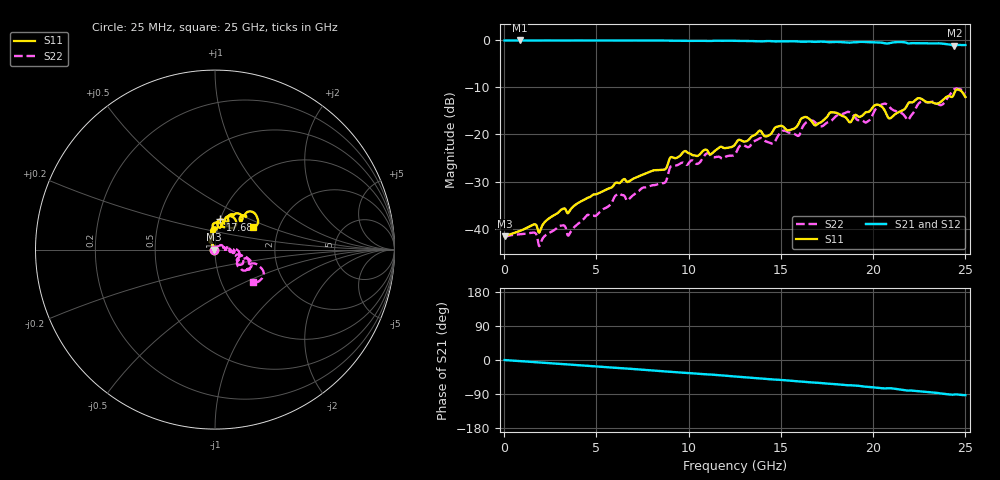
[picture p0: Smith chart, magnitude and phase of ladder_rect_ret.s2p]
! RG_ts6_sw_pwr: kisi's ladder with the plane pairs as finite cavities (rect) (Finite board 24 × 16 mm, ThunderScope stack, via F → In3 (stub to B) through In1 GND / In2 PWR / In4 GND, four GND vias at 1 mm joined to In1 and In4 (openings in In2))
# Hz S RI R 50
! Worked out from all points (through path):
!   1000 points, 25 MHz to 25 GHz, reference 50 ohm
!   highest |S21| = -0.08 dB at 850 MHz (marker M1); lowest = -1.2 dB at 24.4 GHz (marker M2)
!   group delay of S21, straight-line fit = 10.3 ps
!   lowest |S11| = -41.6 dB at 25 MHz (marker M3), VSWR 1.02, Z = 49.2 + j0.00409 ohm
!   |S11| at or under -10 dB: start of sweep to end of sweep
!   |S22| runs from -43.7 to -10.2 dB; largest |S21 - S12| = 0
!   S11 on the Smith chart (normalised r, x): 25 MHz: 0.98, +0.00; 17.68 GHz: 1.00, +0.35; 25 GHz: 1.48, +0.40
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2.5e7  -0.00832 4.16e-05  0.9907 -0.00142  0.9907 -0.00142  -0.00818 3.76e-05
8.5e8  -0.00892 0.00313  0.9899 -0.0499  0.9899 -0.0499  -0.0082 0.00297
1.95e9  -0.00769 0.00558  0.9828 -0.1126  0.9828 -0.1126  -0.00471 0.00484
4.2e9  -0.0118 0.0157  0.9602 -0.244  0.9602 -0.244  0.00143 0.012
6.15e9  -0.0147 0.027  0.9226 -0.3549  0.9226 -0.3549  0.0159 0.017
6.725e9  -0.0138 0.0282  0.911 -0.383  0.911 -0.383  0.016 0.0122
8.35e9  -0.0174 0.038  0.8676 -0.4752  0.8676 -0.4752  0.0262 0.0143
9.125e9  -0.0244 0.0518  0.8412 -0.5152  0.8412 -0.5152  0.0412 0.0217
1.2525e10  -0.0232 0.0753  0.7089 -0.6786  0.7089 -0.6786  0.0609 0.00939
1.5125e10  0.00725 0.1207  0.5808 -0.7758  0.5808 -0.7758  0.109 -0.00944
1.5925e10  -0.0124 0.1257  0.5311 -0.807  0.5311 -0.807  0.0958 -0.0104
1.6675e10  0.0356 0.1323  0.4904 -0.8253  0.4904 -0.8253  0.136 -0.0336
1.7675e10  0.0299 0.168  0.4327 -0.8457  0.4327 -0.8457  0.1346 -0.0298
1.8625e10  0.0611 0.128  0.3728 -0.864  0.3728 -0.864  0.1571 -0.0731
1.965e10  0.0556 0.1632  0.3161 -0.8961  0.3161 -0.8961  0.1259 -0.0485
2.025e10  0.1012 0.1803  0.2719 -0.9046  0.2719 -0.9046  0.1871 -0.0608
2.085e10  0.0868 0.1205  0.2476 -0.8908  0.2476 -0.8908  0.1603 -0.1172
2.19e10  0.0849 0.1954  0.1489 -0.9111  0.1489 -0.9111  0.1268 -0.0633
2.255e10  0.1481 0.1903  0.1173 -0.9202  0.1173 -0.9202  0.2048 -0.0789
2.37e10  0.1384 0.1764  0.023 -0.9197  0.023 -0.9197  0.1849 -0.0883
2.44e10  0.1783 0.2084  -0.0147 -0.8709  -0.0147 -0.8709  0.2716 -0.1318
2.5e10  0.2143 0.1273  -0.0424 -0.8854  -0.0424 -0.8854  0.2106 -0.1786
